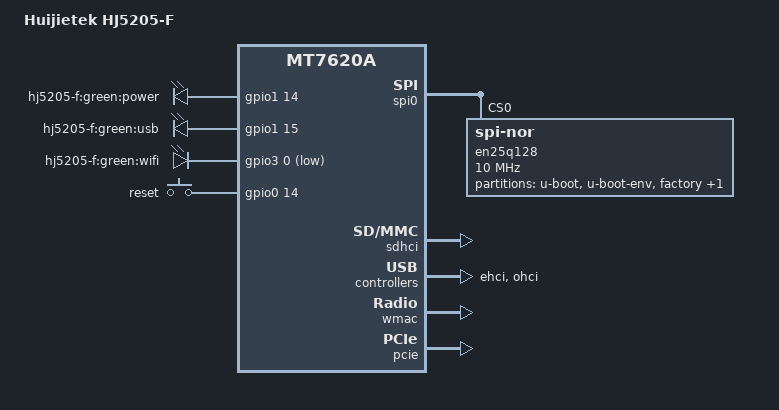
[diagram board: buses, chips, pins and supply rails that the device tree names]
/dts-v1/;

#include "mt7620a.dtsi"

#include <dt-bindings/input/input.h>

/ {
	compatible = "Huijietek,hj5205-f", "ralink,mt7620a-soc";
	model = "Huijietek HJ5205-F";

	chosen {
		bootargs = "console=ttyS0,57600";
	};

	gpio-leds {
		compatible = "gpio-leds";
		power {
			label = "hj5205-f:green:power";
			gpios = <&gpio1 14 0>;
		};
		usb {
			label = "hj5205-f:green:usb";
			gpios = <&gpio1 15 0>;
		};
		air {
			label = "hj5205-f:green:wifi";
			gpios = <&gpio3 0 1>;
		};
	};

	gpio-keys-polled {
		compatible = "gpio-keys-polled";
		#address-cells = <1>;
		#size-cells = <0>;
		poll-interval = <20>;
		reset {
			label = "reset";
			gpios = <&gpio0 14 0>;
			linux,code = <KEY_RESTART>;
		};
	};
};

&gpio0 {
	status = "okay";
};

&gpio1 {
	status = "okay";
};

&gpio3 {
	status = "okay";
};

&spi0 {
	status = "okay";

	en25q128@0 {
		#address-cells = <1>;
		#size-cells = <1>;
		compatible = "jedec,spi-nor";
		reg = <0>;
		spi-max-frequency = <10000000>;

		partition@0 {
			label = "u-boot";
			reg = <0x0 0x30000>;
			read-only;
		};

		partition@30000 {
			label = "u-boot-env";
			reg = <0x30000 0x10000>;
			read-only;
		};

		factory: partition@40000 {
			label = "factory";
			reg = <0x40000 0x10000>;
			read-only;
		};

		partition@50000 {
			label = "firmware";
			reg = <0x50000 0xfb0000>;
		};
	};
};

&sdhci {
	status = "okay";
};

&ehci {
	status = "okay";
};

&ohci {
	status = "okay";
};

&ethernet {
	mtd-mac-address = <&factory 0x4>;
	ralink,port-map = "wllll";
};

&wmac {
	ralink,mtd-eeprom = <&factory 0>;
};

&pinctrl {
	state_default: pinctrl0 {
		default {
			ralink,group = "i2c", "uartf", "wled", "spi refclk", "pa";
			ralink,function = "gpio";
		};
	};
};

&pcie {
	status = "okay";
};
